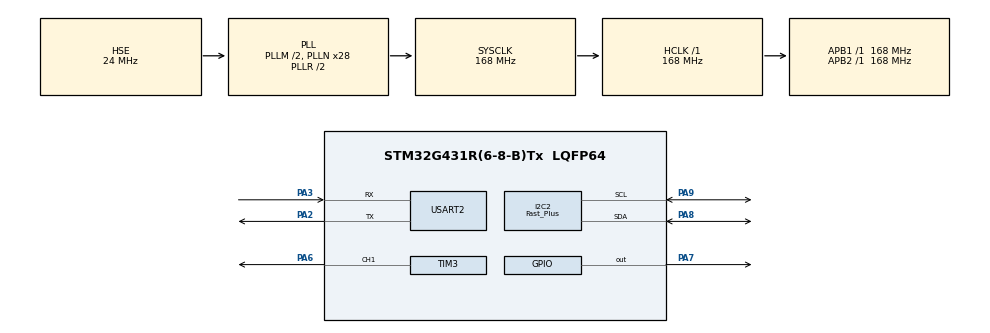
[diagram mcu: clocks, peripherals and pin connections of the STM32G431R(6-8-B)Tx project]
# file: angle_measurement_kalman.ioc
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Dma.I2C2_RX.0.Direction=DMA_PERIPH_TO_MEMORY
Dma.I2C2_RX.0.EventEnable=DISABLE
Dma.I2C2_RX.0.Instance=DMA1_Channel1
Dma.I2C2_RX.0.MemDataAlignment=DMA_MDATAALIGN_BYTE
Dma.I2C2_RX.0.MemInc=DMA_MINC_ENABLE
Dma.I2C2_RX.0.Mode=DMA_NORMAL
Dma.I2C2_RX.0.PeriphDataAlignment=DMA_PDATAALIGN_BYTE
Dma.I2C2_RX.0.PeriphInc=DMA_PINC_DISABLE
Dma.I2C2_RX.0.Polarity=HAL_DMAMUX_REQ_GEN_RISING
Dma.I2C2_RX.0.Priority=DMA_PRIORITY_LOW
Dma.I2C2_RX.0.RequestNumber=1
Dma.I2C2_RX.0.SignalID=NONE
Dma.I2C2_RX.0.SyncEnable=DISABLE
Dma.I2C2_RX.0.SyncPolarity=HAL_DMAMUX_SYNC_NO_EVENT
Dma.I2C2_RX.0.SyncRequestNumber=1
Dma.I2C2_RX.0.SyncSignalID=NONE
Dma.Request0=I2C2_RX
I2C2.I2C_Speed_Mode=I2C_Fast_Plus
I2C2.Speed=1000
I2C2.Timing=0x10C31027
Mcu.Family=STM32G4
Mcu.Name=STM32G431R(6-8-B)Tx
Mcu.Package=LQFP64
NUCLEO-G431RB.BUTTON=1
NUCLEO-G431RB.LD1=true
NUCLEO-G431RB.VCP=false
NVIC.DMA1_Channel1_IRQn=true\:0\:0\:false\:false\:true\:false\:true\:true
NVIC.EXTI15_10_IRQn=true\:0\:0\:false\:false\:true\:false\:true\:true
NVIC.I2C2_EV_IRQn=true\:0\:0\:false\:false\:true\:true\:true\:true
NVIC.PriorityGroup=NVIC_PRIORITYGROUP_4
NVIC.TIM4_IRQn=true\:0\:0\:false\:false\:true\:true\:true\:true
PA13.GPIO_Label=T_SWDIO
PA13.Mode=Serial_Wire
PA13.Signal=SYS_JTMS-SWDIO
PA14.GPIO_Label=T_SWCLK
PA14.Mode=Serial_Wire
PA14.Signal=SYS_JTCK-SWCLK
PA2.Mode=Asynchronous
PA2.Signal=USART2_TX
PA3.Mode=Asynchronous
PA3.Signal=USART2_RX
PA6.Signal=S_TIM3_CH1
PA7.Signal=GPIO_Output
PA8.GPIO_Pu=GPIO_PULLUP
PA8.Mode=I2C
PA8.Signal=I2C2_SDA
PA9.GPIO_Pu=GPIO_PULLUP
PA9.Mode=I2C
PA9.Signal=I2C2_SCL
PB3.GPIO_Label=T_SWO
PB3.Signal=SYS_JTDO-SWO
PF0-OSC_IN.GPIO_Label=RCC_OSC_IN
PF0-OSC_IN.Mode=HSE-External-Oscillator
PF0-OSC_IN.Signal=RCC_OSC_IN
PF1-OSC_OUT.GPIO_Label=RCC_OSC_OUT
PF1-OSC_OUT.Mode=HSE-External-Oscillator
PF1-OSC_OUT.Signal=RCC_OSC_OUT
ProjectManager.HeapSize=0x200
ProjectManager.StackSize=0x400
ProjectManager.TargetToolchain=CMake
RCC.ADC12Freq_Value=168000000
RCC.AHBFreq_Value=168000000
RCC.APB1Freq_Value=168000000
RCC.APB1TimFreq_Value=168000000
RCC.APB2Freq_Value=168000000
RCC.APB2TimFreq_Value=168000000
RCC.CortexFreq_Value=168000000
RCC.EXTERNAL_CLOCK_VALUE=12288000
RCC.HCLKFreq_Value=168000000
RCC.HSE_VALUE=24000000
RCC.HSI48_VALUE=48000000
RCC.HSI_VALUE=16000000
RCC.LSE_VALUE=32768
RCC.PLLM=RCC_PLLM_DIV2
RCC.PLLN=28
RCC.PLLSourceVirtual=RCC_PLLSOURCE_HSE
RCC.RTCClockSelection=RCC_RTCCLKSOURCE_LSE
RCC.SYSCLKFreq_VALUE=168000000
RCC.SYSCLKSource=RCC_SYSCLKSOURCE_PLLCLK
RCC.USBFreq_Value=168000000
RCC.VCOOutputFreq_Value=336000000
SH.S_TIM3_CH1.0=TIM3_CH1,Output Compare1 CH1
TIM3.AutoReloadPreload=TIM_AUTORELOAD_PRELOAD_ENABLE
TIM3.Channel-Output\ Compare1\ CH1=TIM_CHANNEL_1
TIM3.OCMode_1=TIM_OCMODE_TOGGLE
TIM3.PeriodNoDither=4999
TIM3.Prescaler=167
TIM3.PulseNoDither_1=2499
TIM4.PeriodNoDither=49
TIM4.Prescaler=167
TIM4.TIM_MasterOutputTrigger=TIM_TRGO_RESET
USART2.VirtualMode-Asynchronous=VM_ASYNC
VP_NUCLEO-G431RB_VS_BSP_COMMON.Mode=COMMON
VP_SYS_VS_DBSignals.Mode=DisableDeadBatterySignals
VP_TIM3_VS_ClockSourceINT.Mode=Internal
VP_TIM4_VS_ClockSourceINT.Mode=Internal
board=NUCLEO-G431RB

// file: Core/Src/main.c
/* USER CODE BEGIN Header */
/**
  ******************************************************************************
  * @file           : main.c
  * @brief          : Main program body
  ******************************************************************************
  * @attention
  *
  * Copyright (c) 2026 STMicroelectronics.
  * All rights reserved.
  *
  * This software is licensed under terms that can be found in the LICENSE file
  * in the root directory of this software component.
  * If no LICENSE file comes with this software, it is provided AS-IS.
  *
  ******************************************************************************
  */
/* USER CODE END Header */
#include "main.h"

/* USER CODE BEGIN Includes */
#include "as5600.h"
#include "kalman.h"
#include "stm32g4xx_hal.h"
#include "stm32g4xx_hal_gpio.h"
#include "stm32g4xx_hal_i2c.h"
#include "stm32g4xx_hal_tim.h"
#include "stm32g4xx_hal_uart.h"
#include "stm32g4xx_nucleo.h"
#include <stddef.h>
#include <stdint.h>
#include <stdio.h>
/* USER CODE END Includes */

/* USER CODE BEGIN PD */
#define NUM_MEASURE 1024

#define ANGLE_WRAP_THRESHOLD 300
/* USER CODE END PD */

I2C_HandleTypeDef hi2c2;
DMA_HandleTypeDef hdma_i2c2_rx;

TIM_HandleTypeDef htim3;
TIM_HandleTypeDef htim4;

UART_HandleTypeDef huart2;

/* USER CODE BEGIN PV */
AS5600_TypeDef *myAS5600;

uint8_t uart_tx_buf[100];
size_t message_len;

volatile uint8_t button_triggered = 0;
volatile uint8_t timer_triggered = 0;
volatile uint8_t dma_ready = 0;
int32_t measure_buf[NUM_MEASURE];
int32_t raw_buf[NUM_MEASURE];
uint16_t measure_index;

KalmanStruct KF;
KalmanStruct *kf;
/* USER CODE END PV */

void SystemClock_Config(void);
static void MX_GPIO_Init(void);
static void MX_DMA_Init(void);
static void MX_I2C2_Init(void);
static void MX_USART2_UART_Init(void);
static void MX_TIM3_Init(void);
static void MX_TIM4_Init(void);
/* USER CODE BEGIN PFP */
static inline int32_t calc_cul_angle(int32_t angle_cul_prev, uint16_t angle_raw_prev, uint16_t angle_raw);
/* USER CODE END PFP */

int main(void)
{

  /* MCU Configuration--------------------------------------------------------*/

  /* Reset of all peripherals, Initializes the Flash interface and the Systick. */
  HAL_Init();

  /* Configure the system clock */
  SystemClock_Config();

  /* Initialize all configured peripherals */
  MX_GPIO_Init();
  MX_DMA_Init();
  MX_I2C2_Init();
  MX_USART2_UART_Init();
  MX_TIM3_Init();
  MX_TIM4_Init();
  /* USER CODE BEGIN 2 */
  myAS5600 = AS5600_New();
  myAS5600->i2cAddr = (0x36 << 1);  // 7-bit address shifted for HAL
  myAS5600->i2cHandle = &hi2c2;
  myAS5600->SlowFilter = AS5600_SLOW_FILTER_2X;
  myAS5600->FastFilterThreshold = AS5600_FAST_FILTER_6LSB;

  AS5600_Init(myAS5600);

  // Initialise Kalman filter
  kf = &KF;
  kf->dt = 50e-6f;
  kf->x[0] = 0.f;
  kf->x[1] = 0.f;
  kf->P[0][0] = 10.f;
  kf->P[0][1] = 0.f;
  kf->P[1][0] = 0.f;
  kf->P[1][1] = 10.f;
  kf->Q[0][0] = 0.01f;
  kf->Q[0][1] = 0.f;
  kf->Q[1][0] = 0.f;
  kf->Q[1][1] = 1e5f;
  kf->R = 0.24f;
  /* USER CODE END 2 */

  /* Initialize leds */
  BSP_LED_Init(LED_GREEN);

  /* Initialize USER push-button, will be used to trigger an interrupt each time it's pressed.*/
  BSP_PB_Init(BUTTON_USER, BUTTON_MODE_EXTI);

  /* Infinite loop */
  while (1)
  {

    /* USER CODE BEGIN 3 */
    if(button_triggered) {
      measure_index = 0;
      HAL_TIM_Base_Start_IT(&htim4);
      HAL_TIM_OC_Start(&htim3, TIM_CHANNEL_1);

      uint8_t count = 0;
      uint16_t angle_raw, angle_raw_prev;
      int32_t angle_cul;
      while(measure_index < NUM_MEASURE) {
        while(!timer_triggered);  // spin processor until timer is triggers (every 50us)

        timer_triggered = 0;      // clear flag

        HAL_GPIO_WritePin(GPIOA, GPIO_PIN_7, GPIO_PIN_SET);   // GPIO pulse to measure processing time

        switch(count) {
          case 0:
            AS5600_GetAngleDMA(myAS5600);
            kalman_predict(kf);
            measure_buf[measure_index] = (int32_t)(kf->x[0]);
            raw_buf[measure_index] = 0;
            count++;
            break;
          case 1:
            kalman_predict(kf);
            measure_buf[measure_index] = (int32_t)(kf->x[0]);
            raw_buf[measure_index] = 0;
            count++;
            break;
          case 2:
            kalman_predict(kf);

            if(dma_ready) {
              dma_ready = 0;

              angle_raw = (dma_destination[0] << 8) | dma_destination[1];

              if(measure_index < 3) {
                angle_cul = calc_cul_angle(0, angle_raw, angle_raw);
              } else {
                angle_cul = calc_cul_angle(raw_buf[measure_index - 3], angle_raw_prev, angle_raw);
              }

              angle_raw_prev = angle_raw;
            }

            kalman_update(kf, (float)angle_cul);
            measure_buf[measure_index] = (int32_t)(kf->x[0]);
            raw_buf[measure_index] = angle_cul;
            count = 0;
            break;
        }

        HAL_GPIO_WritePin(GPIOA, GPIO_PIN_7, GPIO_PIN_RESET);   // GPIO pulse to measure processing time
        measure_index++;
      }

      HAL_TIM_Base_Stop_IT(&htim4);
      HAL_TIM_OC_Stop(&htim3, TIM_CHANNEL_1);
      button_triggered = 0;

      for(int i = 0; i < NUM_MEASURE; i++) {
        message_len = snprintf((char*)uart_tx_buf, 100, "%ld, %ld\r\n", measure_buf[i], raw_buf[i]);
        HAL_UART_Transmit(&huart2, uart_tx_buf, message_len, 10);
        HAL_Delay(1);
      }
    }
  }
  /* USER CODE END 3 */
}

void SystemClock_Config(void)
{
  RCC_OscInitTypeDef RCC_OscInitStruct = {0};
  RCC_ClkInitTypeDef RCC_ClkInitStruct = {0};

  /** Configure the main internal regulator output voltage
  */
  HAL_PWREx_ControlVoltageScaling(PWR_REGULATOR_VOLTAGE_SCALE1_BOOST);

  /** Initializes the RCC Oscillators according to the specified parameters
  * in the RCC_OscInitTypeDef structure.
  */
  RCC_OscInitStruct.OscillatorType = RCC_OSCILLATORTYPE_HSE;
  RCC_OscInitStruct.HSEState = RCC_HSE_ON;
  RCC_OscInitStruct.PLL.PLLState = RCC_PLL_ON;
  RCC_OscInitStruct.PLL.PLLSource = RCC_PLLSOURCE_HSE;
  RCC_OscInitStruct.PLL.PLLM = RCC_PLLM_DIV2;
  RCC_OscInitStruct.PLL.PLLN = 28;
  RCC_OscInitStruct.PLL.PLLP = RCC_PLLP_DIV2;
  RCC_OscInitStruct.PLL.PLLQ = RCC_PLLQ_DIV2;
  RCC_OscInitStruct.PLL.PLLR = RCC_PLLR_DIV2;
  if (HAL_RCC_OscConfig(&RCC_OscInitStruct) != HAL_OK)
  {
    Error_Handler();
  }

  /** Initializes the CPU, AHB and APB buses clocks
  */
  RCC_ClkInitStruct.ClockType = RCC_CLOCKTYPE_HCLK|RCC_CLOCKTYPE_SYSCLK
                              |RCC_CLOCKTYPE_PCLK1|RCC_CLOCKTYPE_PCLK2;
  RCC_ClkInitStruct.SYSCLKSource = RCC_SYSCLKSOURCE_PLLCLK;
  RCC_ClkInitStruct.AHBCLKDivider = RCC_SYSCLK_DIV1;
  RCC_ClkInitStruct.APB1CLKDivider = RCC_HCLK_DIV1;
  RCC_ClkInitStruct.APB2CLKDivider = RCC_HCLK_DIV1;

  if (HAL_RCC_ClockConfig(&RCC_ClkInitStruct, FLASH_LATENCY_4) != HAL_OK)
  {
    Error_Handler();
  }
}

static void MX_I2C2_Init(void)
{

  hi2c2.Instance = I2C2;
  hi2c2.Init.Timing = 0x10C31027;
  hi2c2.Init.OwnAddress1 = 0;
  hi2c2.Init.AddressingMode = I2C_ADDRESSINGMODE_7BIT;
  hi2c2.Init.DualAddressMode = I2C_DUALADDRESS_DISABLE;
  hi2c2.Init.OwnAddress2 = 0;
  hi2c2.Init.OwnAddress2Masks = I2C_OA2_NOMASK;
  hi2c2.Init.GeneralCallMode = I2C_GENERALCALL_DISABLE;
  hi2c2.Init.NoStretchMode = I2C_NOSTRETCH_DISABLE;
  if (HAL_I2C_Init(&hi2c2) != HAL_OK)
  {
    Error_Handler();
  }

  /** Configure Analogue filter
  */
  if (HAL_I2CEx_ConfigAnalogFilter(&hi2c2, I2C_ANALOGFILTER_ENABLE) != HAL_OK)
  {
    Error_Handler();
  }

  /** Configure Digital filter
  */
  if (HAL_I2CEx_ConfigDigitalFilter(&hi2c2, 0) != HAL_OK)
  {
    Error_Handler();
  }

  /** I2C Fast mode Plus enable
  */
  HAL_I2CEx_EnableFastModePlus(I2C_FASTMODEPLUS_I2C2);

}

static void MX_TIM3_Init(void)
{

  TIM_ClockConfigTypeDef sClockSourceConfig = {0};
  TIM_MasterConfigTypeDef sMasterConfig = {0};
  TIM_OC_InitTypeDef sConfigOC = {0};

  htim3.Instance = TIM3;
  htim3.Init.Prescaler = 167;
  htim3.Init.CounterMode = TIM_COUNTERMODE_UP;
  htim3.Init.Period = 4999;
  htim3.Init.ClockDivision = TIM_CLOCKDIVISION_DIV1;
  htim3.Init.AutoReloadPreload = TIM_AUTORELOAD_PRELOAD_ENABLE;
  if (HAL_TIM_Base_Init(&htim3) != HAL_OK)
  {
    Error_Handler();
  }
  sClockSourceConfig.ClockSource = TIM_CLOCKSOURCE_INTERNAL;
  if (HAL_TIM_ConfigClockSource(&htim3, &sClockSourceConfig) != HAL_OK)
  {
    Error_Handler();
  }
  if (HAL_TIM_OC_Init(&htim3) != HAL_OK)
  {
    Error_Handler();
  }
  sMasterConfig.MasterOutputTrigger = TIM_TRGO_RESET;
  sMasterConfig.MasterSlaveMode = TIM_MASTERSLAVEMODE_DISABLE;
  if (HAL_TIMEx_MasterConfigSynchronization(&htim3, &sMasterConfig) != HAL_OK)
  {
    Error_Handler();
  }
  sConfigOC.OCMode = TIM_OCMODE_TOGGLE;
  sConfigOC.Pulse = 2499;
  sConfigOC.OCPolarity = TIM_OCPOLARITY_HIGH;
  sConfigOC.OCFastMode = TIM_OCFAST_DISABLE;
  if (HAL_TIM_OC_ConfigChannel(&htim3, &sConfigOC, TIM_CHANNEL_1) != HAL_OK)
  {
    Error_Handler();
  }
  HAL_TIM_MspPostInit(&htim3);

}

static void MX_TIM4_Init(void)
{

  TIM_ClockConfigTypeDef sClockSourceConfig = {0};
  TIM_MasterConfigTypeDef sMasterConfig = {0};

  htim4.Instance = TIM4;
  htim4.Init.Prescaler = 167;
  htim4.Init.CounterMode = TIM_COUNTERMODE_UP;
  htim4.Init.Period = 49;
  htim4.Init.ClockDivision = TIM_CLOCKDIVISION_DIV1;
  htim4.Init.AutoReloadPreload = TIM_AUTORELOAD_PRELOAD_DISABLE;
  if (HAL_TIM_Base_Init(&htim4) != HAL_OK)
  {
    Error_Handler();
  }
  sClockSourceConfig.ClockSource = TIM_CLOCKSOURCE_INTERNAL;
  if (HAL_TIM_ConfigClockSource(&htim4, &sClockSourceConfig) != HAL_OK)
  {
    Error_Handler();
  }
  sMasterConfig.MasterOutputTrigger = TIM_TRGO_RESET;
  sMasterConfig.MasterSlaveMode = TIM_MASTERSLAVEMODE_DISABLE;
  if (HAL_TIMEx_MasterConfigSynchronization(&htim4, &sMasterConfig) != HAL_OK)
  {
    Error_Handler();
  }

}

static void MX_USART2_UART_Init(void)
{

  huart2.Instance = USART2;
  huart2.Init.BaudRate = 115200;
  huart2.Init.WordLength = UART_WORDLENGTH_8B;
  huart2.Init.StopBits = UART_STOPBITS_1;
  huart2.Init.Parity = UART_PARITY_NONE;
  huart2.Init.Mode = UART_MODE_TX_RX;
  huart2.Init.HwFlowCtl = UART_HWCONTROL_NONE;
  huart2.Init.OverSampling = UART_OVERSAMPLING_16;
  huart2.Init.OneBitSampling = UART_ONE_BIT_SAMPLE_DISABLE;
  huart2.Init.ClockPrescaler = UART_PRESCALER_DIV1;
  huart2.AdvancedInit.AdvFeatureInit = UART_ADVFEATURE_NO_INIT;
  if (HAL_UART_Init(&huart2) != HAL_OK)
  {
    Error_Handler();
  }
  if (HAL_UARTEx_SetTxFifoThreshold(&huart2, UART_TXFIFO_THRESHOLD_1_8) != HAL_OK)
  {
    Error_Handler();
  }
  if (HAL_UARTEx_SetRxFifoThreshold(&huart2, UART_RXFIFO_THRESHOLD_1_8) != HAL_OK)
  {
    Error_Handler();
  }
  if (HAL_UARTEx_DisableFifoMode(&huart2) != HAL_OK)
  {
    Error_Handler();
  }

}

static void MX_DMA_Init(void)
{

  /* DMA controller clock enable */
  __HAL_RCC_DMAMUX1_CLK_ENABLE();
  __HAL_RCC_DMA1_CLK_ENABLE();

  /* DMA interrupt init */
  /* DMA1_Channel1_IRQn interrupt configuration */
  HAL_NVIC_SetPriority(DMA1_Channel1_IRQn, 0, 0);
  HAL_NVIC_EnableIRQ(DMA1_Channel1_IRQn);

}

static void MX_GPIO_Init(void)
{
  GPIO_InitTypeDef GPIO_InitStruct = {0};

  /* GPIO Ports Clock Enable */
  __HAL_RCC_GPIOF_CLK_ENABLE();
  __HAL_RCC_GPIOA_CLK_ENABLE();
  __HAL_RCC_GPIOB_CLK_ENABLE();

  /*Configure GPIO pin Output Level */
  HAL_GPIO_WritePin(GPIOA, GPIO_PIN_7, GPIO_PIN_RESET);

  /*Configure GPIO pin : PA7 */
  GPIO_InitStruct.Pin = GPIO_PIN_7;
  GPIO_InitStruct.Mode = GPIO_MODE_OUTPUT_PP;
  GPIO_InitStruct.Pull = GPIO_NOPULL;
  GPIO_InitStruct.Speed = GPIO_SPEED_FREQ_LOW;
  HAL_GPIO_Init(GPIOA, &GPIO_InitStruct);

}

/* USER CODE BEGIN 4 */
/**
 * @brief Calculates the cumulated angle.
 *
 * @param angle_cul_prev int32_t, the previous cumulated angle
 * @param angle_raw_prev uint16_t, the previous raw angle. Range: 0 to 4095
 * @param angle_raw uint16_t, the current raw angle. Range: 0 to 4095
 * @return int32_t
 */
static inline int32_t calc_cul_angle(int32_t angle_cul_prev, uint16_t angle_raw_prev, uint16_t angle_raw) {
  int32_t angle_cul;
  if(angle_raw_prev > 4095 - ANGLE_WRAP_THRESHOLD && angle_raw < ANGLE_WRAP_THRESHOLD) {
    // forward wrap around
    angle_cul = angle_cul_prev + (4096 - angle_raw_prev + angle_raw);
  } else if(angle_raw_prev < ANGLE_WRAP_THRESHOLD && angle_raw > 4095 - ANGLE_WRAP_THRESHOLD) {
    // backward wrap around
    angle_cul = angle_cul_prev - (4096 - angle_raw + angle_raw_prev);
  } else {
    // no wrap around
    angle_cul = angle_cul_prev + (angle_raw - angle_raw_prev);
  }

  return angle_cul;
}

void BSP_PB_Callback(Button_TypeDef Button) {
  if(Button == BUTTON_USER) {
    button_triggered = 1;
  }
}

void HAL_TIM_PeriodElapsedCallback(TIM_HandleTypeDef *htim) {
  if(htim == &htim4) {
    // static uint16_t angle_raw, angle_raw_prev;
    // AS5600_GetAngle(myAS5600, &angle_raw);

    // if(measure_index == 0) {
    //   measure_buf[measure_index] = calc_cul_angle(measure_buf[NUM_MEASURE - 1], angle_raw, angle_raw);
    // } else {
    //   measure_buf[measure_index] = calc_cul_angle(measure_buf[measure_index - 1], angle_raw_prev, angle_raw);
    // }

    // angle_raw_prev = angle_raw;
    // measure_index++;

    timer_triggered = 1;
  }
}

void HAL_I2C_MemRxCpltCallback(I2C_HandleTypeDef *hi2c) {
  if(hi2c == &hi2c2) {
    dma_ready = 1;
  }
}

/* USER CODE END 4 */

void Error_Handler(void)
{
  __disable_irq();
  while (1)
  {
  }
}
